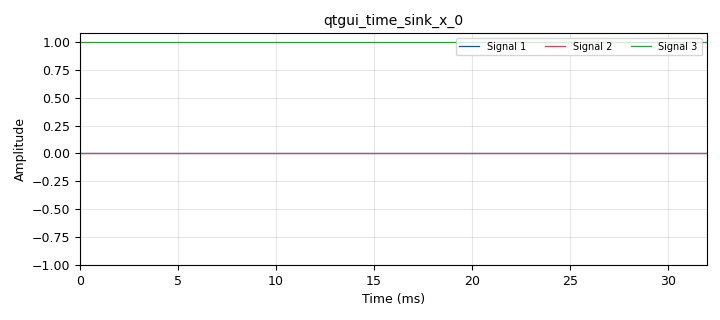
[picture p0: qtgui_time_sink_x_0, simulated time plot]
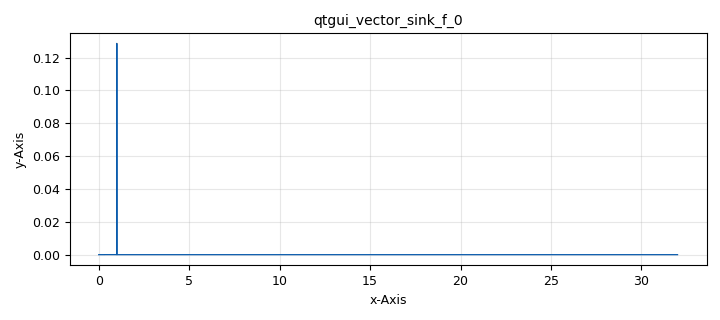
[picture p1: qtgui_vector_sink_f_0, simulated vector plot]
options:
  parameters:
    author: zzaw
    generate_options: qt_gui
    id: TEST_peak_detector
    output_language: python
    title: Not titled yet
  states: {}

blocks:
- name: amp_sig_src
  id: variable_qtgui_range
  parameters:
    start: '0'
    step: '1e-1'
    stop: '4'
    value: '1'
  states: {}
- name: fft_size
  id: variable
  parameters:
    value: '32768'
  states: {}
- name: freq_sig_src
  id: variable_qtgui_range
  parameters:
    start: '0'
    step: '1'
    stop: 1e4
    value: '1000'
  states: {}
- name: samp_rate
  id: variable
  parameters:
    value: '32000'
  states: {}
- name: analog_const_source_x_0_0
  id: analog_const_source_x
  parameters:
    const: '1'
    type: byte
  states: {state: disabled}
- name: analog_sig_source_x_0
  id: analog_sig_source_x
  parameters:
    amp: amp_sig_src
    freq: freq_sig_src
    offset: '0'
    phase: '0'
    samp_rate: samp_rate
    type: complex
    waveform: analog.GR_COS_WAVE
  states: {}
- name: analog_sig_source_x_1
  id: analog_sig_source_x
  parameters:
    amp: '1'
    freq: '1'
    offset: '0'
    phase: '0'
    samp_rate: samp_rate
    type: byte
    waveform: analog.GR_SQR_WAVE
  states: {}
- name: blocks_abs_xx_0
  id: blocks_abs_xx
  parameters:
    type: float
  states: {}
- name: blocks_add_const_vxx_0
  id: blocks_add_const_vxx
  parameters:
    const: '-freq_sig_src'
    type: float
  states: {}
- name: blocks_add_xx_0
  id: blocks_add_xx
  parameters:
    type: float
  states: {state: disabled}
- name: blocks_and_const_xx_0_0
  id: blocks_and_const_xx
  parameters:
    const: '1'
    type: byte
  states: {state: disabled}
- name: blocks_argmax_xx_0
  id: blocks_argmax_xx
  parameters:
    num_inputs: '1'
    type: float
    vlen: fft_size
  states: {}
- name: blocks_complex_to_float_0
  id: blocks_complex_to_float
  parameters: {}
  states: {state: disabled}
- name: blocks_complex_to_mag_squared_0
  id: blocks_complex_to_mag_squared
  parameters:
    vlen: fft_size
  states: {}
- name: blocks_max_xx_0
  id: blocks_max_xx
  parameters:
    type: float
    vlen: fft_size
    vlen_out: '1'
  states: {}
- name: blocks_multiply_const_vxx_0
  id: blocks_multiply_const_vxx
  parameters:
    const: 1e6/samp_rate*1024/fft_size
    type: float
  states: {}
- name: blocks_multiply_const_vxx_1
  id: blocks_multiply_const_vxx
  parameters:
    const: 1e2/freq_sig_src
    type: float
  states: {}
- name: blocks_multiply_const_xx_0
  id: blocks_multiply_const_xx
  parameters:
    const: 1/fft_size
    type: complex
    vlen: fft_size
  states: {}
- name: blocks_multiply_const_xx_1
  id: blocks_multiply_const_xx
  parameters:
    const: 1e6/samp_rate
    type: float
  states: {state: disabled}
- name: blocks_nlog10_ff_0
  id: blocks_nlog10_ff
  parameters:
    k: '0'
    n: '10'
    vlen: fft_size
  states: {state: disabled}
- name: blocks_nlog10_ff_0_0
  id: blocks_nlog10_ff
  parameters:
    k: '0'
    n: '10'
  states: {state: disabled}
- name: blocks_nlog10_ff_0_0_0
  id: blocks_nlog10_ff
  parameters:
    k: '0'
    n: '10'
  states: {}
- name: blocks_null_sink_0
  id: blocks_null_sink
  parameters:
    type: short
  states: {}
- name: blocks_peak_detector2_fb_0
  id: blocks_peak_detector2_fb
  parameters:
    alpha: '0.001'
    look_ahead: '1000'
    threshold_factor_rise: '7'
  states: {state: disabled}
- name: blocks_peak_detector2_fb_0_0
  id: blocks_peak_detector2_fb
  parameters:
    alpha: '0.001'
    look_ahead: '1000'
    threshold_factor_rise: '7'
  states: {state: disabled}
- name: blocks_peak_detector_xb_0
  id: blocks_peak_detector_xb
  parameters:
    alpha: '0.001'
    look_ahead: '10'
    threshold_factor_fall: '0.40'
    threshold_factor_rise: '0.25'
    type: float
  states: {state: disabled}
- name: blocks_peak_detector_xb_0_0
  id: blocks_peak_detector_xb
  parameters:
    alpha: '0.001'
    look_ahead: '20'
    threshold_factor_fall: '0.40'
    threshold_factor_rise: '0.25'
    type: float
  states: {}
- name: blocks_sample_and_hold_xx_0
  id: blocks_sample_and_hold_xx
  parameters:
    type: float
  states: {state: disabled}
- name: blocks_sample_and_hold_xx_0_0
  id: blocks_sample_and_hold_xx
  parameters:
    type: float
  states: {state: disabled}
- name: blocks_sample_and_hold_xx_0_1
  id: blocks_sample_and_hold_xx
  parameters:
    type: float
  states: {state: disabled}
- name: blocks_sample_and_hold_xx_0_1_0
  id: blocks_sample_and_hold_xx
  parameters:
    type: short
  states: {state: disabled}
- name: blocks_sample_and_hold_xx_0_1_1
  id: blocks_sample_and_hold_xx
  parameters:
    type: byte
  states: {}
- name: blocks_short_to_float_0
  id: blocks_short_to_float
  parameters:
    scale: '1'
  states: {}
- name: blocks_stream_to_vector_0
  id: blocks_stream_to_vector
  parameters:
    num_items: fft_size
    type: complex
  states: {}
- name: blocks_throttle_0
  id: blocks_throttle
  parameters:
    samples_per_second: samp_rate
    type: complex
  states: {state: disabled}
- name: blocks_throttle_0_0
  id: blocks_throttle
  parameters:
    samples_per_second: samp_rate
    type: byte
  states: {state: disabled}
- name: blocks_uchar_to_float_0
  id: blocks_uchar_to_float
  parameters: {}
  states: {}
- name: blocks_uchar_to_float_0_0
  id: blocks_uchar_to_float
  parameters: {}
  states: {}
- name: blocks_uchar_to_float_0_1
  id: blocks_uchar_to_float
  parameters: {}
  states: {}
- name: blocks_vector_to_stream_0
  id: blocks_vector_to_stream
  parameters:
    num_items: fft_size
    type: float
  states: {}
- name: blocks_xor_xx_0_0
  id: blocks_xor_xx
  parameters:
    type: byte
  states: {state: disabled}
- name: blocks_xor_xx_1
  id: blocks_xor_xx
  parameters:
    type: byte
  states: {}
- name: fft_vxx_0
  id: fft_vxx
  parameters:
    fft_size: fft_size
    forward: 'True'
    shift: 'False'
    type: complex
    window: window.blackmanharris(fft_size)
  states: {}
- name: qtgui_histogram_sink_x_0
  id: qtgui_histogram_sink_x
  parameters:
    bins: '100'
    nconnections: '2'
    size: '1024'
    type: float
    xmax: '1'
    xmin: '-1'
  states: {state: disabled}
- name: qtgui_number_sink_0
  id: qtgui_number_sink
  parameters:
    graph_type: qtgui.NUM_GRAPH_HORIZ
    nconnections: '2'
    type: byte
  states: {state: disabled}
- name: qtgui_number_sink_1
  id: qtgui_number_sink
  parameters:
    graph_type: qtgui.NUM_GRAPH_NONE
    name: '"freq_detected"'
    type: float
  states: {}
- name: qtgui_number_sink_1_0
  id: qtgui_number_sink
  parameters:
    graph_type: qtgui.NUM_GRAPH_NONE
    name: '"freq_err(%)"'
    type: float
  states: {}
- name: qtgui_number_sink_2
  id: qtgui_number_sink
  parameters:
    graph_type: qtgui.NUM_GRAPH_NONE
    name: '"power_spectrum_detected(dB)"'
    type: float
  states: {state: disabled}
- name: qtgui_number_sink_2_0
  id: qtgui_number_sink
  parameters:
    graph_type: qtgui.NUM_GRAPH_NONE
    name: '"power_spectrum_detected(dB)"'
    type: float
  states: {}
- name: qtgui_number_sink_3
  id: qtgui_number_sink
  parameters:
    graph_type: qtgui.NUM_GRAPH_HORIZ
    name: '"peak_detected"'
    type: byte
  states: {}
- name: qtgui_sink_x_0
  id: qtgui_sink_x
  parameters:
    bw: samp_rate
    fc: '0'
    fftsize: '1024'
    type: complex
  states: {state: disabled}
- name: qtgui_time_raster_sink_x_0
  id: qtgui_time_raster_sink_x
  parameters:
    ncols: '256'
    nconnections: '2'
    nrows: '256'
    samp_rate: samp_rate
    type: byte
  states: {state: disabled}
- name: qtgui_time_sink_x_0
  id: qtgui_time_sink_x
  parameters:
    nconnections: '3'
    size: '1024'
    srate: samp_rate
    type: float
  states: {}
- name: qtgui_time_sink_x_1
  id: qtgui_time_sink_x
  parameters:
    size: '1024'
    srate: samp_rate
    type: float
  states: {state: disabled}
- name: qtgui_time_sink_x_2
  id: qtgui_time_sink_x
  parameters:
    size: '1024'
    srate: samp_rate
    type: float
  states: {state: disabled}
- name: qtgui_time_sink_x_3
  id: qtgui_time_sink_x
  parameters:
    size: '1024'
    srate: samp_rate
    type: float
  states: {state: disabled}
- name: qtgui_vector_sink_f_0
  id: qtgui_vector_sink_f
  parameters:
    autoscale: 'True'
    grid: 'True'
    update_time: '0.05'
    vlen: fft_size
    x_start: '0'
    x_step: 1e3/samp_rate*1024/fft_size
  states: {}
- name: vsink_fft_1
  id: virtual_sink
  parameters:
    stream_id: '1'
  states: {}
- name: vsink_frequency_detected
  id: virtual_sink
  parameters:
    stream_id: '3'
  states: {}
- name: vsink_peak_detected
  id: virtual_sink
  parameters:
    stream_id: '2'
  states: {state: disabled}
- name: vsink_sig_src
  id: virtual_sink
  parameters:
    stream_id: '0'
  states: {}
- name: vsrc_fft_1
  id: virtual_source
  parameters:
    stream_id: '1'
  states: {}
- name: vsrc_fft_1_0
  id: virtual_source
  parameters:
    stream_id: '1'
  states: {}
- name: vsrc_frequency_detected
  id: virtual_source
  parameters:
    stream_id: '3'
  states: {}
- name: vsrc_peak_detected
  id: virtual_source
  parameters:
    stream_id: '2'
  states: {state: disabled}
- name: vsrc_sig_src
  id: virtual_source
  parameters:
    stream_id: '0'
  states: {}

connections:
- [analog_const_source_x_0_0, '0', blocks_xor_xx_0_0, '0']
- [analog_sig_source_x_0, '0', blocks_throttle_0, '0']
- [analog_sig_source_x_0, '0', vsink_sig_src, '0']
- [analog_sig_source_x_1, '0', blocks_throttle_0_0, '0']
- [analog_sig_source_x_1, '0', blocks_uchar_to_float_0_1, '0']
- [analog_sig_source_x_1, '0', blocks_xor_xx_1, '1']
- [blocks_abs_xx_0, '0', blocks_multiply_const_vxx_1, '0']
- [blocks_add_const_vxx_0, '0', blocks_abs_xx_0, '0']
- [blocks_add_xx_0, '0', blocks_peak_detector2_fb_0, '0']
- [blocks_add_xx_0, '0', blocks_peak_detector_xb_0, '0']
- [blocks_and_const_xx_0_0, '0', blocks_sample_and_hold_xx_0_1, '1']
- [blocks_and_const_xx_0_0, '0', blocks_sample_and_hold_xx_0_1_0, '1']
- [blocks_argmax_xx_0, '0', blocks_sample_and_hold_xx_0_1_0, '0']
- [blocks_argmax_xx_0, '0', blocks_short_to_float_0, '0']
- [blocks_argmax_xx_0, '1', blocks_null_sink_0, '0']
- [blocks_complex_to_float_0, '0', blocks_add_xx_0, '0']
- [blocks_complex_to_float_0, '1', blocks_add_xx_0, '1']
- [blocks_complex_to_mag_squared_0, '0', blocks_nlog10_ff_0, '0']
- [blocks_complex_to_mag_squared_0, '0', qtgui_vector_sink_f_0, '0']
- [blocks_complex_to_mag_squared_0, '0', vsink_fft_1, '0']
- [blocks_max_xx_0, '0', blocks_nlog10_ff_0_0_0, '0']
- [blocks_max_xx_0, '0', blocks_sample_and_hold_xx_0_1, '0']
- [blocks_multiply_const_vxx_0, '0', qtgui_number_sink_1, '0']
- [blocks_multiply_const_vxx_0, '0', vsink_frequency_detected, '0']
- [blocks_multiply_const_vxx_1, '0', qtgui_number_sink_1_0, '0']
- [blocks_multiply_const_xx_0, '0', blocks_complex_to_mag_squared_0, '0']
- [blocks_multiply_const_xx_1, '0', qtgui_number_sink_1, '0']
- [blocks_nlog10_ff_0, '0', vsink_fft_1, '0']
- [blocks_nlog10_ff_0_0, '0', qtgui_number_sink_2, '0']
- [blocks_nlog10_ff_0_0_0, '0', qtgui_number_sink_2_0, '0']
- [blocks_peak_detector2_fb_0, '0', qtgui_number_sink_0, '1']
- [blocks_peak_detector2_fb_0, '1', qtgui_time_sink_x_1, '0']
- [blocks_peak_detector2_fb_0_0, '0', blocks_sample_and_hold_xx_0_0, '1']
- [blocks_peak_detector2_fb_0_0, '0', qtgui_time_raster_sink_x_0, '1']
- [blocks_peak_detector2_fb_0_0, '1', qtgui_time_sink_x_3, '0']
- [blocks_peak_detector_xb_0, '0', qtgui_number_sink_0, '0']
- [blocks_peak_detector_xb_0_0, '0', blocks_sample_and_hold_xx_0, '1']
- [blocks_peak_detector_xb_0_0, '0', blocks_sample_and_hold_xx_0_1_1, '0']
- [blocks_peak_detector_xb_0_0, '0', blocks_xor_xx_1, '0']
- [blocks_sample_and_hold_xx_0, '0', blocks_nlog10_ff_0_0, '0']
- [blocks_sample_and_hold_xx_0, '0', qtgui_histogram_sink_x_0, '0']
- [blocks_sample_and_hold_xx_0_0, '0', qtgui_histogram_sink_x_0, '1']
- [blocks_sample_and_hold_xx_0_1, '0', blocks_nlog10_ff_0_0_0, '0']
- [blocks_sample_and_hold_xx_0_1_0, '0', blocks_short_to_float_0, '0']
- [blocks_sample_and_hold_xx_0_1_1, '0', blocks_uchar_to_float_0, '0']
- [blocks_sample_and_hold_xx_0_1_1, '0', qtgui_number_sink_3, '0']
- [blocks_sample_and_hold_xx_0_1_1, '0', vsink_peak_detected, '0']
- [blocks_short_to_float_0, '0', blocks_multiply_const_vxx_0, '0']
- [blocks_short_to_float_0, '0', blocks_multiply_const_xx_1, '0']
- [blocks_stream_to_vector_0, '0', fft_vxx_0, '0']
- [blocks_throttle_0, '0', vsink_sig_src, '0']
- [blocks_uchar_to_float_0, '0', qtgui_time_sink_x_0, '2']
- [blocks_uchar_to_float_0_0, '0', qtgui_time_sink_x_0, '1']
- [blocks_uchar_to_float_0_1, '0', qtgui_time_sink_x_0, '0']
- [blocks_vector_to_stream_0, '0', blocks_peak_detector2_fb_0_0, '0']
- [blocks_vector_to_stream_0, '0', blocks_peak_detector_xb_0_0, '0']
- [blocks_vector_to_stream_0, '0', blocks_sample_and_hold_xx_0, '0']
- [blocks_vector_to_stream_0, '0', blocks_sample_and_hold_xx_0_0, '0']
- [blocks_vector_to_stream_0, '0', qtgui_time_sink_x_2, '0']
- [blocks_xor_xx_0_0, '0', blocks_sample_and_hold_xx_0_1_1, '1']
- [blocks_xor_xx_1, '0', blocks_sample_and_hold_xx_0_1_1, '1']
- [blocks_xor_xx_1, '0', blocks_uchar_to_float_0_0, '0']
- [blocks_xor_xx_1, '0', blocks_xor_xx_0_0, '1']
- [fft_vxx_0, '0', blocks_multiply_const_xx_0, '0']
- [vsrc_fft_1, '0', blocks_vector_to_stream_0, '0']
- [vsrc_fft_1_0, '0', blocks_argmax_xx_0, '0']
- [vsrc_fft_1_0, '0', blocks_max_xx_0, '0']
- [vsrc_frequency_detected, '0', blocks_add_const_vxx_0, '0']
- [vsrc_peak_detected, '0', blocks_and_const_xx_0_0, '0']
- [vsrc_sig_src, '0', blocks_complex_to_float_0, '0']
- [vsrc_sig_src, '0', blocks_stream_to_vector_0, '0']
- [vsrc_sig_src, '0', qtgui_sink_x_0, '0']

metadata:
  file_format: 1
  grc_version: 3.10.4.0
